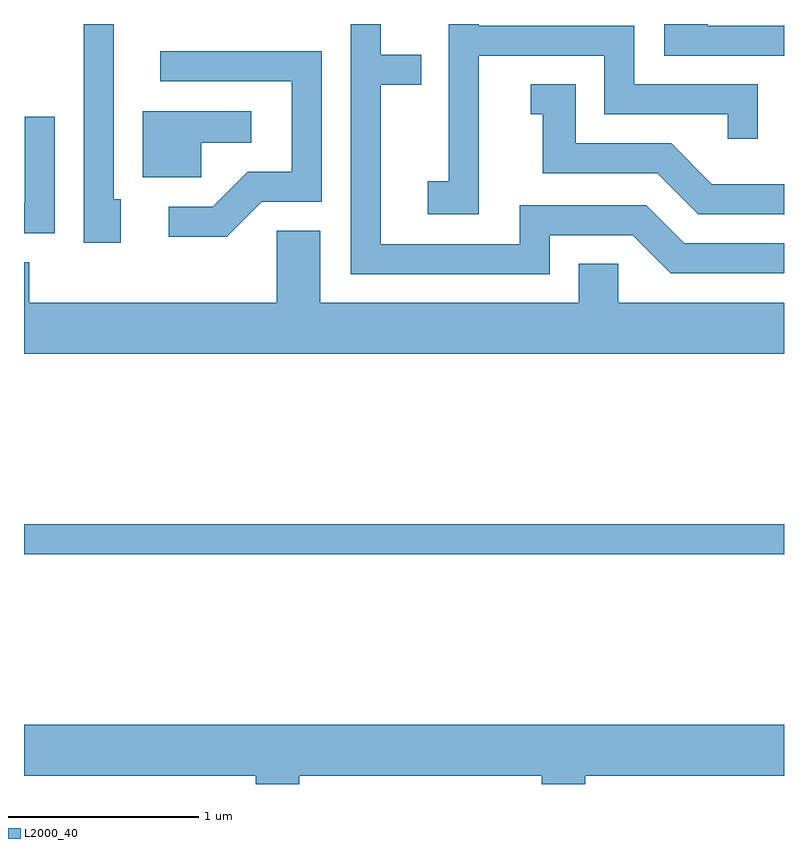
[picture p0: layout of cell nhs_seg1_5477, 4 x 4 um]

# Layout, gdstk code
import gdstk
lib = gdstk.Library(unit=1e-6, precision=1e-09)
def R(c, l, rs):  # rectangles x0, y0, x1, y1
    for r in rs: c.add(gdstk.rectangle(r[:2], r[2:], *l))
def P(c, l, *ps):  # polygons
    for p in ps: c.add(gdstk.Polygon(p, *l))
L2000_40 = (2000, 40)

nhs_seg1_5477 = lib.new_cell('nhs_seg1_5477')
R(nhs_seg1_5477, L2000_40, [(349.611,942.921,353.611,943.079)])
P(nhs_seg1_5477, L2000_40, [(353.611,945.704),(353.209,945.704),(353.209,945.712),(352.981,945.712),(352.981,945.546),(353.611,945.546)],
  [(350.119,944.789),(350.084,944.789),(350.084,945.712),(349.926,945.712),(349.926,944.561),(350.119,944.561)],
  [(352.004,945.546),(352.666,945.546),(352.666,945.236),(353.316,945.236),(353.316,945.108),(353.474,945.108),(353.474,945.394),(352.824,945.394),(352.824,945.704),(352.004,945.704),(352.004,945.712),(351.846,945.712),(351.846,944.884),(351.736,944.884),(351.736,944.711),(352.004,944.711)],
  [(352.379,944.601),(352.814,944.601),(353.014,944.401),(353.611,944.401),(353.611,944.559),(353.087,944.559),(352.887,944.759),(352.221,944.759),(352.221,944.554),(351.489,944.554),(351.489,945.391),(351.703,945.391),(351.703,945.549),(351.489,945.549),(351.489,945.712),(351.331,945.712),(351.331,944.396),(352.379,944.396)],
  [(350.862,944.776),(351.179,944.776),(351.179,945.569),(350.328,945.569),(350.328,945.411),(351.021,945.411),(351.021,944.934),(350.789,944.934),(350.604,944.749),(350.373,944.749),(350.373,944.591),(350.677,944.591)],
  [(353.611,944.869),(353.232,944.869),(353.017,945.084),(352.514,945.084),(352.514,945.394),(352.278,945.394),(352.278,945.236),(352.341,945.236),(352.341,944.926),(352.944,944.926),(353.159,944.711),(353.611,944.711)],
  [(350.544,945.086),(350.808,945.086),(350.808,945.254),(350.236,945.254),(350.236,944.906),(350.544,944.906)],
  [(349.774,945.223),(349.616,945.223),(349.616,944.769),(349.611,944.769),(349.611,944.611),(349.774,944.611)],
  [(353.611,944.244),(352.739,944.244),(352.739,944.449),(352.531,944.449),(352.531,944.244),(351.169,944.244),(351.169,944.624),(350.941,944.624),(350.941,944.244),(349.639,944.244),(349.639,944.459),(349.611,944.459),(349.611,943.976),(353.611,943.976)],
  [(351.059,941.756),(352.336,941.756),(352.336,941.712),(352.564,941.712),(352.564,941.756),(353.611,941.756),(353.611,942.024),(349.611,942.024),(349.611,941.756),(350.831,941.756),(350.831,941.712),(351.059,941.712)])

lib.write_gds('nhs_seg1_5477.gds')
